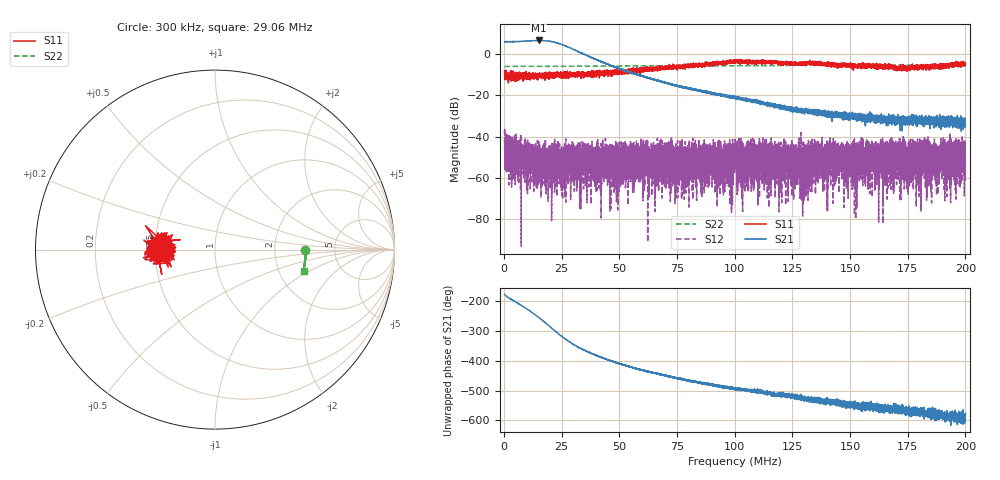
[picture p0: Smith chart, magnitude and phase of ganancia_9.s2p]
# Hz S DB R 50
! CMT, M5065, 19127446, 24.2.4/2
! Date: 10/29/2024 11:58:00 AM
! Data: Format (Calibration Info)
! Freq	S11:dB/Ang(F2)	S21:dB/Ang(F2)	S12:dB/Ang(F2)	S22:dB/Ang(F2)
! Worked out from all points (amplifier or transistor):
!   9000 points, 300 kHz to 200 MHz, reference 50 ohm
!   highest |S21| = 6.6 dB at 15.1 MHz (marker M1)
!   |S21| within 3 dB of that: start of sweep to 27.41 MHz
!   unconditionally stable (mu >= 1): start of sweep to end of sweep
!   at 33.59 MHz: K = 79.91, MAG = 2.3 dB, |S12| = -48.1 dB
!   at 100.2 MHz: K = 270.66, MAG = -17.5 dB, |S12| = -41.3 dB
!   at 200 MHz: K = 10387.18, MAG = -31.7 dB, |S12| = -58.0 dB
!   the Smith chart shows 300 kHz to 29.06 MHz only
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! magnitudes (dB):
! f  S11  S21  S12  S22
! 300 kHz  -10.4  6.0  -47.3  -6.0
! 15.1 MHz  -9.5  6.6  -49.9  -5.9
! 33.59 MHz  -10.2  0.5  -48.1  -5.9
! 66.87 MHz  -7.1  -12.9  -47.3  -5.7
! 79.19 MHz  -4.9  -16.6  -63.9  -5.7
! 88.56 MHz  -4.4  -19.0  -64.4  -5.6
! 94.68 MHz  -4.5  -19.8  -47.0  -5.6
! 100.2 MHz  -3.3  -21.6  -41.3  -5.6
! 103.7 MHz  -3.1  -21.4  -52.2  -5.6
! 111.4 MHz  -3.2  -23.2  -48.4  -5.6
! 118.4 MHz  -3.3  -25.9  -46.4  -5.5
! 133.4 MHz  -4.5  -26.8  -44.5  -5.3
! 152.9 MHz  -6.3  -30.5  -49.2  -5.3
! 154.7 MHz  -5.5  -30.7  -47.2  -5.3
! 161.5 MHz  -6.1  -29.7  -48.3  -5.3
! 166.7 MHz  -6.6  -33.8  -51.7  -5.3
! 187.6 MHz  -6.2  -32.8  -51.3  -5.4
! 190 MHz  -5.0  -32.1  -53.9  -5.4
! 192.1 MHz  -5.8  -31.5  -46.0  -5.5
! 198.1 MHz  -5.3  -33.1  -60.3  -5.5
! 199.1 MHz  -5.5  -32.5  -54.6  -5.5
! 200 MHz  -4.5  -35.0  -58.0  -5.5
